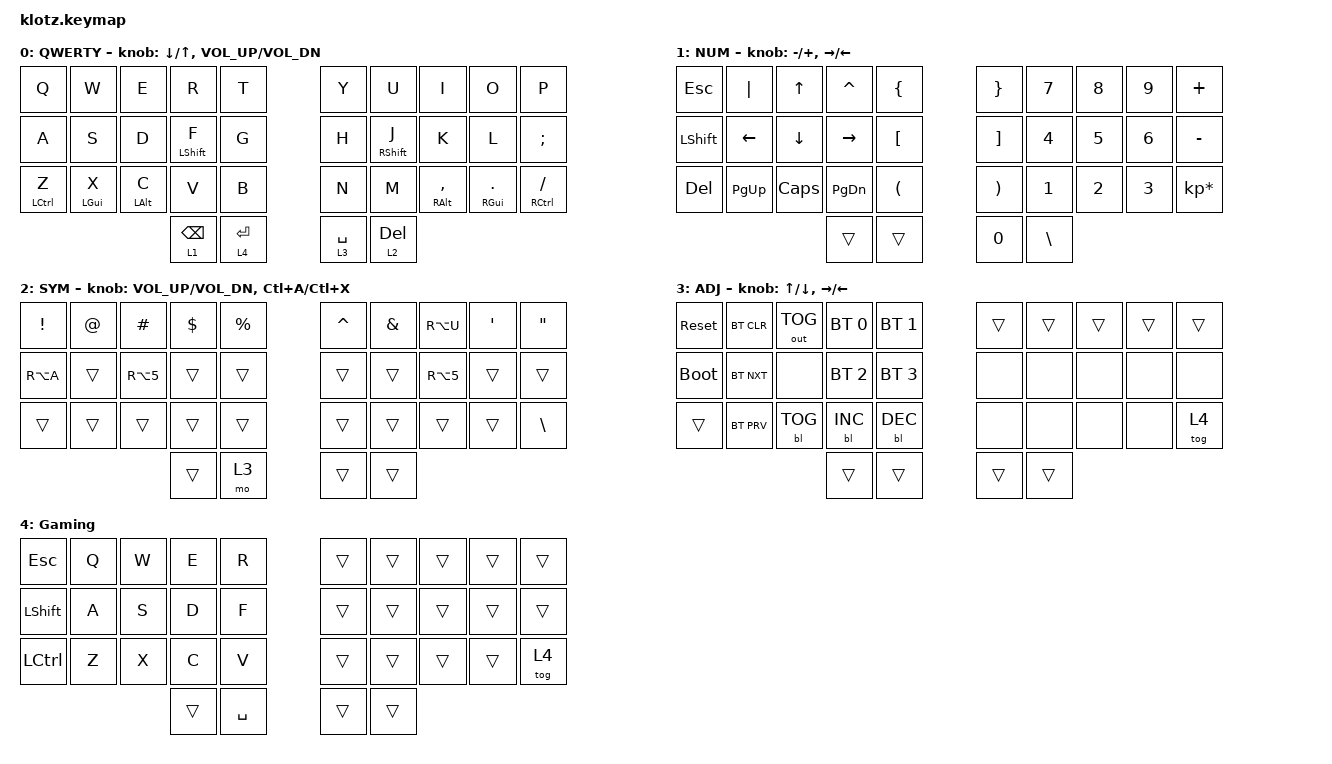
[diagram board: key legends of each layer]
//              █         ██        ▄▀▀▀▀▀▀▀▀▀▀█▀▀▀▀▀▀▀▀█▀▀▀▀▀▀▀▀▀▀█
//              █        █ █      ▄▀            ▀▄      █         █
//              █       █  █    ▄▀                ▀▄    █        █
//              █      █   █   █                    █   █       █
//              █     █    █   █                    █   █      █
//              █    █     █   █                    █   █  ▀▀▀█▀▀▀▀
//              █   █ █    █   █                    █   █    █
//              █  █   █   █   █                    █   █   █
//              █ █     █  █    ▀▄                ▄▀    █  █
//              ██       █ █      ▀▄            ▄▀      █ █
//              █         ██▄▄▄▄▄▄▄▄█▄▄▄▄▄▄▄▄▄▄▀        ██▄▄▄▄▄▄▄▄▄▄
//
//▄▄▄▄▄▄▄▄▄▄▄▄▄▄▄▄▄▄▄▄▄▄▄▄▄▄▄▄▄▄▄▄▄▄▄▄▄▄▄▄▄▄▄▄▄▄▄▄▄▄▄▄▄▄▄▄▄▄▄▄▄▄▄▄▄▄▄▄▄▄▄▄▄▄▄▄▄▄▄
//
//
/* ╭────┬────┬────┬────┬────╮ ⌄        ⌄ ╭────┬────┬────┬────┬────╮
   │  0 │  1 │  2 │  3 │  4 │ │  ⌁⌁⌁⌁   │ │  5 │  6 │  7 │  8 │  9 │
   ├────┼────┼────┼────┼────┼─╯        ╰─┼────┼────┼────┼────┼────┤
   │ 10 │ 11 │ 12 │ 13 │ 14 │╭───╮  ╭───╮│ 15 │ 16 │ 17 │ 18 │ 19 │
   ├────┼────┼────┼────┼────┤│ROT│  │ROT│├────┼────┼────┼────┼────┤
   │ 20 │ 21 │ 22 │ 23 │ 24 │╰───╯  ╰───╯│ 25 │ 26 │ 27 │ 28 │ 29 │
   ╰────┴────┴─────────┼────┼────╮  ╭────┼────┼────┼────┴────┴────╯
                       │ 30 │ 31 │  │ 32 │ 33 │
                       ╰────┴────╯  ╰────┴────╯ */

#include <behaviors.dtsi>
#include <dt-bindings/zmk/backlight.h>
#include <dt-bindings/zmk/bt.h>
#include <dt-bindings/zmk/keys.h>
#include <dt-bindings/zmk/outputs.h>

#define TAPPING_TERM_TIME 175
#define QUICK_TAP_TIME 200
#define IDLE_MOD_TIME 200

// LAYERS ├────────────────────────────────────────────┐

#define BAS 0
#define SYM 1
#define NUM 2
#define NAV 3
#define ADJ 4

/ {
    conditional_layers { compatible = "zmk,conditional-layers"; };
};

// LAYER-TAP KEYS ├────────────────────────────────────────────┐

#define NUM_ENT &my_lt NUM ENTER
#define SYM_SPC &my_lt SYM SPACE
#define NAV_TAB &my_lt NAV TAB
#define NAV_BSP &my_lt_bspc NAV 0

&caps_word { continue-list = <UNDERSCORE MINUS BSPC LSHFT RSHFT>; };

/ {
};

#define COMBO(NAME, BINDINGS, KEYPOS, TIMEOUT) \
combo_##NAME { \
    timeout-ms = <TIMEOUT>; \
    bindings = <BINDINGS>; \
    key-positions = <KEYPOS>; \
};

/ {
    combos {
        compatible = "zmk,combos";

        COMBO(esc, &kp ESC, 13 16, 75)
        COMBO(caps, &caps_word, 10 19, 75)
        COMBO(capslock, &kp CAPSLOCK, 0 9, 75)

        // In the number cluster

        COMBO(singlequote, &kp SINGLE_QUOTE, 6 7, 50)
        COMBO(doublequote, &kp DOUBLE_QUOTES, 7 8, 50)
        COMBO(minus, &kp MINUS, 17 18, 50)
        COMBO(plus, &kp PLUS, 16 17, 50)
        COMBO(equal, &kp EQUAL, 27 28, 50)
        COMBO(star, &kp ASTERISK, 26 27, 50)
        COMBO(underscore, &kp UNDERSCORE, 16 17 18, 50)

        qw-combo {
            bindings = <&kp ESCAPE>;
            key-positions = <0 1>;
        };
    };
};

/ {
    behaviors {
        colsem: colon_semicolon {
            compatible = "zmk,behavior-mod-morph";
            label = "inverted colon/semicolon";
            #binding-cells = <0>;
            bindings = <&kp COLON>, <&kp SEMICOLON>;

            mods = <(MOD_LSFT|MOD_RSFT)>;
        };

        bspc_del: backspace_delete {
            compatible = "zmk,behavior-mod-morph";
            label = "backspace and shift delete";
            #binding-cells = <0>;
            bindings = <&kp BACKSPACE>, <&kp DELETE>;

            mods = <(MOD_LSFT|MOD_RSFT)>;
        };

        hl: homerow_mods_left {
            compatible = "zmk,behavior-hold-tap";
            label = "homerow mods left";
            #binding-cells = <2>;
            flavor = "balanced";
            tapping-term-ms = <TAPPING_TERM_TIME>;
            quick-tap-ms = <QUICK_TAP_TIME>;
            require-prior-idle-ms = <IDLE_MOD_TIME>;

            // global-quick-tap;

            bindings = <&kp>, <&kp>;

            // opposite side hand keys

            hold-trigger-key-positions = <5 6 7 8 9 15 16 17 18 19 25 26 27 28 29 32 33>;
        };

        hr: homerow_mods_right {
            compatible = "zmk,behavior-hold-tap";
            label = "homerow mods right";
            #binding-cells = <2>;
            flavor = "balanced";
            tapping-term-ms = <TAPPING_TERM_TIME>;
            quick-tap-ms = <QUICK_TAP_TIME>;
            require-prior-idle-ms = <IDLE_MOD_TIME>;

            // global-quick-tap;

            bindings = <&kp>, <&kp>;

            // opposite side hand keys

            hold-trigger-key-positions = <0 1 2 3 4 10 11 12 13 14 20 21 22 23 24 30 31>;
        };

        my_lt: my_layer_taps {
            compatible = "zmk,behavior-hold-tap";
            label = "my layer taps";
            #binding-cells = <2>;

            // flavor = "tap-preferred";

            flavor = "balanced";
            tapping-term-ms = <TAPPING_TERM_TIME>;
            quick-tap-ms = <QUICK_TAP_TIME>;
            require-prior-idle-ms = <IDLE_MOD_TIME>;

            // global-quick-tap;

            bindings = <&mo>, <&kp>;

            // non-thumb keys
            /* hold-trigger-key-positions = <0 1 2 3 4 5 6 7 8 9 10 11 12 13 14 15 16 17 18 19 20 21 22 23>; */
        };

        my_lt_bspc: my_layer_tap_bspc_del {
            compatible = "zmk,behavior-hold-tap";
            label = "my layer taps backspace";
            #binding-cells = <2>;
            tapping-term-ms = <TAPPING_TERM_TIME>;
            quick-tap-ms = <QUICK_TAP_TIME>;
            require-prior-idle-ms = <IDLE_MOD_TIME>;
            bindings = <&mo>, <&bspc_del>;
        };
    };
};

/ {
    keymap {
        compatible = "zmk,keymap";

        /*  ┌───────────────────────────────────────────────────────────┐
            │ q w e r t y                                               │
            └───────────────────────────────────────────────────────────┘
            ╭───────────┬───────────┬───────────┬───────────┬───────────╮ ⌄                    ⌄ ╭───────────┬───────────┬───────────┬───────────┬───────────╮
            │     Q     │     W     │     E     │     R     │     T     │ │     ⌁⌁⌁⌁⌁⌁⌁⌁⌁⌁     │ │     Y     │     U     │     I     │     O     │     P     │
            ├───────────┼───────────┼───────────┼───────────┼───────────┼─╯                    ╰─┼───────────┼───────────┼───────────┼───────────┼───────────┤
            │   A/ALT   │   S/GUI   │  D/CTRL   │  F/SHIFT  │     G     │╭──────────╮╭──────────╮│     H     │  J/SHIFT  │  K/CTRL   │   L/GUI   │   :/ALT   │
            ├───────────┼───────────┼───────────┼───────────┼───────────┤│          ││          │├───────────┼───────────┼───────────┼───────────┼───────────┤
            │     Z     │     X     │     C     │     V     │     B     │╰──────────╯╰──────────╯│     N     │     M     │     ,     │     .     │     /     │
            ╰───────────┴───────────┴───────────┴───────────┼───────────┼───────────╮╭───────────┼───────────┼───────────┴───────────┴───────────┴───────────╯
                                                            │  Tab/NAV  │ Enter/NUM ││ Space/SYM │  Esc/NAV  │
                                                            ╰───────────┴───────────╯╰───────────┴───────────╯ */

        qwerty {
            label = "QWERTY";
            bindings = <
&kp Q        &kp W           &kp E           &kp R            &kp T         &kp Y        &kp U         &kp I                &kp O         &kp P
&kp A        &kp S           &kp D           &hl LSHFT F      &kp G         &kp H        &hr RSHFT J   &kp K                &kp L         &kp SEMICOLON
&hl LCTRL Z  &hl LEFT_GUI X  &hl LEFT_ALT C  &kp V            &kp B         &kp N        &kp M         &hr RIGHT_ALT COMMA  &hr RGUI DOT  &hr RIGHT_CONTROL SLASH
                                             &lt 1 BACKSPACE  &lt 4 RETURN  &lt 3 SPACE  &lt 2 DELETE
            >;

            sensor-bindings = <&inc_dec_kp DOWN UP &inc_dec_kp C_VOL_UP C_VOL_DN>;
        };

        /*  ┌───────────────────────────────────────────────────────────┐
            │ s y m b o l s                                             │
            └───────────────────────────────────────────────────────────┘
            ╭───────────┬───────────┬───────────┬───────────┬───────────╮ ⌄                    ⌄ ╭───────────┬───────────┬───────────┬───────────┬───────────╮
            │     ~     │     `     │           │     ^     │           │ │     ⌁⌁⌁⌁⌁⌁⌁⌁⌁⌁       │ │           │           │           │           │           │
            ├───────────┼───────────┼───────────┼───────────┼───────────┼─╯                    ╰─┼───────────┼───────────┼───────────┼───────────┼───────────┤
            │     !     │     @     │     #     │     $     │     %     │╭──────────╮╭──────────╮│           │           │           │           │           │
            ├───────────┼───────────┼───────────┼───────────┼───────────┤│          ││          │├───────────┼───────────┼───────────┼───────────┼───────────┤
            │           │           │     |     │     &     │           │╰──────────╯╰──────────╯│           │           │           │           │           │
            ╰───────────┴───────────┴───────────┴───────────┼───────────┼───────────╮╭───────────┼───────────┼───────────┴───────────┴───────────┴───────────╯
                                                            │           │           ││           │           │
                                                            ╰───────────┴───────────╯╰───────────┴───────────╯ */

        numbers {
            label = "NUM";
            bindings = <
&kp ESC         &kp PIPE        &kp UP_ARROW    &kp CARET  &kp LEFT_BRACE        &kp RIGHT_BRACE        &kp N7         &kp N8        &kp N9        &kp PLUS
&kp LEFT_SHIFT  &kp LEFT_ARROW  &kp DOWN_ARROW  &kp RIGHT  &kp LEFT_BRACKET      &kp RIGHT_BRACKET      &kp NUMBER_4   &kp N5        &kp NUMBER_6  &kp MINUS
&kp DELETE      &kp PG_UP       &kp CAPSLOCK    &kp PG_DN  &kp LEFT_PARENTHESIS  &kp RIGHT_PARENTHESIS  &kp NUMBER_1   &kp NUMBER_2  &kp NUMBER_3  &kp KP_ASTERISK
                                                &trans     &trans                &kp NUMBER_0           &kp BACKSLASH
            >;

            sensor-bindings = <&inc_dec_kp MINUS PLUS &inc_dec_kp RIGHT LEFT>;
        };

        /*  ┌───────────────────────────────────────────────────────────┐
            │ n u m b e r s                                             │
            └───────────────────────────────────────────────────────────┘
            ╭───────────┬───────────┬───────────┬───────────┬───────────╮ ⌄                    ⌄ ╭───────────┬───────────┬───────────┬───────────┬───────────╮
            │    F1     │    F2     │    F3     │    F4     │    F5     │ │     ⌁⌁⌁⌁⌁⌁⌁⌁⌁⌁     │ │     [     │     7     │     8     │     9     │     ]     │
            ├───────────┼───────────┼───────────┼───────────┼───────────┼─╯                    ╰─┼───────────┼───────────┼───────────┼───────────┼───────────┤
            │    F6     │    F7     │    F8     │    F9     │    F10    │╭──────────╮╭──────────╮│     (     │     4     │     5     │     6     │     )     │
            ├───────────┼───────────┼───────────┼───────────┼───────────┤│          ││          │├───────────┼───────────┼───────────┼───────────┼───────────┤
            │           │           │           │    F11    │    F12    │╰──────────╯╰──────────╯│     {     │     1     │     2     │     3     │     }     │
            ╰───────────┴───────────┴───────────┴───────────┼───────────┼───────────╮╭───────────┼───────────┼───────────┴───────────┴───────────┴───────────╯
                                                            │           │           ││     \     │     0     │
                                                            ╰───────────┴───────────╯╰───────────┴───────────╯ */

        symbols {
            label = "SYM";
            bindings = <
&kp EXCLAMATION  &kp AT_SIGN  &kp HASH          &kp DOLLAR  &kp PERCENT  &kp CARET  &kp AMPS  &kp RA(U)         &kp SINGLE_QUOTE  &kp DOUBLE_QUOTES
&kp RA(A)        &trans       &kp RA(NUMBER_5)  &trans      &trans       &trans     &trans    &kp RA(NUMBER_5)  &trans            &trans
&trans           &trans       &trans            &trans      &trans       &trans     &trans    &trans            &trans            &kp BACKSLASH
                                                &trans      &mo 3        &trans     &trans
            >;

            sensor-bindings = <&inc_dec_kp C_VOL_UP C_VOL_DN  &inc_dec_kp LC(A) LC(X)>;
        };

        /*  ┌───────────────────────────────────────────────────────────┐
            │ n a v i g a t i o n                                       │
            └───────────────────────────────────────────────────────────┘
            ╭───────────┬───────────┬───────────┬───────────┬───────────╮ ⌄                    ⌄ ╭───────────┬───────────┬───────────┬───────────┬───────────╮
            │           │           │     €     │           │           │ │     ⌁⌁⌁⌁⌁⌁⌁⌁⌁⌁     │ │           │     Ü     │           │     Ö     │           │
            ├───────────┼───────────┼───────────┼───────────┼───────────┼─╯                    ╰─┼───────────┼───────────┼───────────┼───────────┼───────────┤
            │     Ä     │     ß     │           │  OSM SFT  │           │╭──────────╮╭──────────╮│     ←     │     ↓     │     ↑     │     →     │           │
            ├───────────┼───────────┼───────────┼───────────┼───────────┤│          ││          │├───────────┼───────────┼───────────┼───────────┼───────────┤
            │           │           │           │           │           │╰──────────╯╰──────────╯│           │           │           │           │           │
            ╰───────────┴───────────┴───────────┴───────────┼───────────┼───────────╮╭───────────┼───────────┼───────────┴───────────┴───────────┴───────────╯
                                                            │           │           ││           │           │
                                                            ╰───────────┴───────────╯╰───────────┴───────────╯ */
        /*  ┌───────────────────────────────────────────────────────────┐
            │ a d j u s t                                               │
            └───────────────────────────────────────────────────────────┘
            ╭───────────┬───────────┬───────────┬───────────┬───────────╮ ⌄                    ⌄ ╭───────────┬───────────┬───────────┬───────────┬───────────╮
            │   Reset   │           │           │Tap. Term ↑│           │ │     ⌁⌁⌁⌁⌁⌁⌁⌁⌁⌁       │ │           │     Ü     │           │     Ö     │           │
            ├───────────┼───────────┼───────────┼───────────┼───────────┼─╯                    ╰─┼───────────┼───────────┼───────────┼───────────┼───────────┤
            │Bootloader │           │           │Print TapT.│           │╭──────────╮╭──────────╮│     ←     │     ↓     │     ↑     │     →     │           │
            ├───────────┼───────────┼───────────┼───────────┼───────────┤│          ││          │├───────────┼───────────┼───────────┼───────────┼───────────┤
            │Make Keymap│           │           │Tap. Term ↓│           │╰──────────╯╰──────────╯│           │           │           │           │           │
            ╰───────────┴───────────┴───────────┴───────────┼───────────┼───────────╮╭───────────┼───────────┼───────────┴───────────┴───────────┴───────────╯
                                                            │           │           ││           │           │
                                                            ╰───────────┴───────────╯╰───────────┴───────────╯ */

        function {
            label = "ADJ";
            bindings = <
&sys_reset   &bt BT_CLR  &out OUT_TOG  &bt BT_SEL 0  &bt BT_SEL 1  &trans  &trans  &trans  &trans  &trans
&bootloader  &bt BT_NXT  &none         &bt BT_SEL 2  &bt BT_SEL 3  &none   &none   &none   &none   &none
&trans       &bt BT_PRV  &bl BL_TOG    &bl BL_INC    &bl BL_DEC    &none   &none   &none   &none   &tog 4
                                       &trans        &trans        &trans  &trans
            >;

            sensor-bindings = <&inc_dec_kp UP DOWN  &inc_dec_kp RIGHT LEFT>;
        };

        Gaming {
            bindings = <
&kp ESC    &kp Q  &kp W  &kp E   &kp R      &trans  &trans  &trans  &trans  &trans
&kp LSHFT  &kp A  &kp S  &kp D   &kp F      &trans  &trans  &trans  &trans  &trans
&kp LCTRL  &kp Z  &kp X  &kp C   &kp V      &trans  &trans  &trans  &trans  &tog 4
                         &trans  &kp SPACE  &trans  &trans
            >;
        };
    };
};
